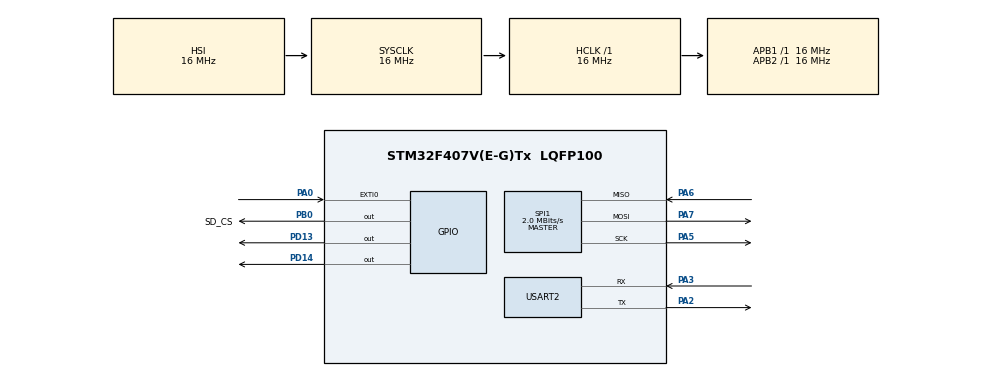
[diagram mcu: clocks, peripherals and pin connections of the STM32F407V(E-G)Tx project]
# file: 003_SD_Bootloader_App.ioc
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FATFS._MAX_SS=4096
FATFS._USE_LFN=1
Mcu.Family=STM32F4
Mcu.Name=STM32F407V(E-G)Tx
Mcu.Package=LQFP100
NVIC.EXTI0_IRQn=true\:0\:0\:false\:false\:true\:true\:true\:true
NVIC.PriorityGroup=NVIC_PRIORITYGROUP_4
PA0-WKUP.Signal=GPXTI0
PA13.Mode=Serial_Wire
PA13.Signal=SYS_JTMS-SWDIO
PA14.Mode=Serial_Wire
PA14.Signal=SYS_JTCK-SWCLK
PA2.Mode=Asynchronous
PA2.Signal=USART2_TX
PA3.Mode=Asynchronous
PA3.Signal=USART2_RX
PA5.Mode=Full_Duplex_Master
PA5.Signal=SPI1_SCK
PA6.Mode=Full_Duplex_Master
PA6.Signal=SPI1_MISO
PA7.Mode=Full_Duplex_Master
PA7.Signal=SPI1_MOSI
PB0.GPIO_Label=SD_CS
PB0.Signal=GPIO_Output
PD13.Signal=GPIO_Output
PD14.Signal=GPIO_Output
PH0-OSC_IN.Mode=HSE-External-Oscillator
PH0-OSC_IN.Signal=RCC_OSC_IN
PH1-OSC_OUT.Mode=HSE-External-Oscillator
PH1-OSC_OUT.Signal=RCC_OSC_OUT
ProjectManager.HeapSize=0x200
ProjectManager.StackSize=0x400
ProjectManager.TargetToolchain=STM32CubeIDE
RCC.AHBFreq_Value=16000000
RCC.APB1Freq_Value=16000000
RCC.APB2Freq_Value=16000000
RCC.CortexFreq_Value=16000000
RCC.HSE_VALUE=25000000
RCC.HSI_VALUE=16000000
RCC.LSE_VALUE=32768
RCC.SYSCLKFreq_VALUE=16000000
RCC.VCOOutputFreq_Value=192000000
SPI1.BaudRatePrescaler=SPI_BAUDRATEPRESCALER_8
SPI1.CalculateBaudRate=2.0 MBits/s
SPI1.Direction=SPI_DIRECTION_2LINES
SPI1.Mode=SPI_MODE_MASTER
SPI1.VirtualType=VM_MASTER
USART2.VirtualMode=VM_ASYNC
VP_FATFS_VS_Generic.Mode=User_defined
board=custom

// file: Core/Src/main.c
/* USER CODE BEGIN Header */
/**
  ******************************************************************************
  * @file           : main.c
  * @brief          : Main program body
  ******************************************************************************
  * @attention
  *
  * Copyright (c) 2024 STMicroelectronics.
  * All rights reserved.
  *
  * This software is licensed under terms that can be found in the LICENSE file
  * in the root directory of this software component.
  * If no LICENSE file comes with this software, it is provided AS-IS.
  *
  ******************************************************************************
  */
/* USER CODE END Header */
#include "main.h"
#include "fatfs.h"

/* USER CODE BEGIN Includes */
#include"fatfs_sd.h"
#include "flash.h"
#include "stdarg.h"
#include "stdio.h"
#include "string.h"
#include "crc.h"
/* USER CODE END Includes */

/* USER CODE BEGIN PTD */
 uint32_t appAddress = 0x08008000;
 uint32_t endAddress = 0x080FFFFF;

void bootloader_jump_to_user_application(void);
void printMessage(char *format, ...);
void JumpToApplication(void);

uint8_t buffer[12000];
uint8_t buffer2[12000];

FATFS fs;  // file system
FIL file; // File
FILINFO fno;
FRESULT fresult;  // result
UINT br, bw;

/* USER CODE END PTD */

SPI_HandleTypeDef hspi1;

UART_HandleTypeDef huart2;

void SystemClock_Config(void);
static void MX_GPIO_Init(void);
static void MX_SPI1_Init(void);
static void MX_USART2_UART_Init(void);

int main(void)
{

  /* MCU Configuration--------------------------------------------------------*/

  /* Reset of all peripherals, Initializes the Flash interface and the Systick. */
  HAL_Init();

  /* Configure the system clock */
  SystemClock_Config();

  /* Initialize all configured peripherals */
  MX_GPIO_Init();
  MX_SPI1_Init();
  MX_FATFS_Init();
  MX_USART2_UART_Init();
  /* USER CODE BEGIN 2 */

	fresult = f_mount(&fs, "/", 1);
	if (fresult != FR_OK) {
		printMessage("ERROR!!! in mounting SD CARD...\n");
		return 0;
	} else {

		printMessage("SD CARD mounted successfully...\n");
	}

	fresult = f_open(&file, "003_Bootloader_User_App.bin", FA_READ);

	if (fresult == FR_OK) {
		printMessage("003_Bootloader_User_App is open and the data is shown below\n");
		f_read(&file, buffer2, f_size(&file), &br);
		printMessage(buffer2);
		printMessage("\n\n");
		f_close(&file);
	} else {
		printMessage("ERROR!!! in opening 003_Bootloader_User_App...\n");
	}

	Flash_Write_Data(appAddress, (uint32_t*) buffer2, 12000, 1);
	JumpToApplication();

  /* USER CODE END 2 */

  /* Infinite loop */
  while (1)
  {

  }
}

void SystemClock_Config(void)
{
  RCC_OscInitTypeDef RCC_OscInitStruct = {0};
  RCC_ClkInitTypeDef RCC_ClkInitStruct = {0};

  /** Configure the main internal regulator output voltage
  */
  __HAL_RCC_PWR_CLK_ENABLE();
  __HAL_PWR_VOLTAGESCALING_CONFIG(PWR_REGULATOR_VOLTAGE_SCALE1);

  /** Initializes the RCC Oscillators according to the specified parameters
  * in the RCC_OscInitTypeDef structure.
  */
  RCC_OscInitStruct.OscillatorType = RCC_OSCILLATORTYPE_HSI;
  RCC_OscInitStruct.HSIState = RCC_HSI_ON;
  RCC_OscInitStruct.HSICalibrationValue = RCC_HSICALIBRATION_DEFAULT;
  RCC_OscInitStruct.PLL.PLLState = RCC_PLL_NONE;
  if (HAL_RCC_OscConfig(&RCC_OscInitStruct) != HAL_OK)
  {
    Error_Handler();
  }

  /** Initializes the CPU, AHB and APB buses clocks
  */
  RCC_ClkInitStruct.ClockType = RCC_CLOCKTYPE_HCLK|RCC_CLOCKTYPE_SYSCLK
                              |RCC_CLOCKTYPE_PCLK1|RCC_CLOCKTYPE_PCLK2;
  RCC_ClkInitStruct.SYSCLKSource = RCC_SYSCLKSOURCE_HSI;
  RCC_ClkInitStruct.AHBCLKDivider = RCC_SYSCLK_DIV1;
  RCC_ClkInitStruct.APB1CLKDivider = RCC_HCLK_DIV1;
  RCC_ClkInitStruct.APB2CLKDivider = RCC_HCLK_DIV1;

  if (HAL_RCC_ClockConfig(&RCC_ClkInitStruct, FLASH_LATENCY_0) != HAL_OK)
  {
    Error_Handler();
  }
}

static void MX_SPI1_Init(void)
{

  /* SPI1 parameter configuration*/
  hspi1.Instance = SPI1;
  hspi1.Init.Mode = SPI_MODE_MASTER;
  hspi1.Init.Direction = SPI_DIRECTION_2LINES;
  hspi1.Init.DataSize = SPI_DATASIZE_8BIT;
  hspi1.Init.CLKPolarity = SPI_POLARITY_LOW;
  hspi1.Init.CLKPhase = SPI_PHASE_1EDGE;
  hspi1.Init.NSS = SPI_NSS_SOFT;
  hspi1.Init.BaudRatePrescaler = SPI_BAUDRATEPRESCALER_8;
  hspi1.Init.FirstBit = SPI_FIRSTBIT_MSB;
  hspi1.Init.TIMode = SPI_TIMODE_DISABLE;
  hspi1.Init.CRCCalculation = SPI_CRCCALCULATION_DISABLE;
  hspi1.Init.CRCPolynomial = 10;
  if (HAL_SPI_Init(&hspi1) != HAL_OK)
  {
    Error_Handler();
  }

}

static void MX_USART2_UART_Init(void)
{

  huart2.Instance = USART2;
  huart2.Init.BaudRate = 115200;
  huart2.Init.WordLength = UART_WORDLENGTH_8B;
  huart2.Init.StopBits = UART_STOPBITS_1;
  huart2.Init.Parity = UART_PARITY_NONE;
  huart2.Init.Mode = UART_MODE_TX_RX;
  huart2.Init.HwFlowCtl = UART_HWCONTROL_NONE;
  huart2.Init.OverSampling = UART_OVERSAMPLING_16;
  if (HAL_UART_Init(&huart2) != HAL_OK)
  {
    Error_Handler();
  }

}

static void MX_GPIO_Init(void)
{
  GPIO_InitTypeDef GPIO_InitStruct = {0};

  /* GPIO Ports Clock Enable */
  __HAL_RCC_GPIOH_CLK_ENABLE();
  __HAL_RCC_GPIOA_CLK_ENABLE();
  __HAL_RCC_GPIOB_CLK_ENABLE();
  __HAL_RCC_GPIOD_CLK_ENABLE();

  /*Configure GPIO pin Output Level */
  HAL_GPIO_WritePin(SD_CS_GPIO_Port, SD_CS_Pin, GPIO_PIN_RESET);

  /*Configure GPIO pin Output Level */
  HAL_GPIO_WritePin(GPIOD, GPIO_PIN_13|GPIO_PIN_14, GPIO_PIN_RESET);

  /*Configure GPIO pin : PA0 */
  GPIO_InitStruct.Pin = GPIO_PIN_0;
  GPIO_InitStruct.Mode = GPIO_MODE_IT_RISING;
  GPIO_InitStruct.Pull = GPIO_NOPULL;
  HAL_GPIO_Init(GPIOA, &GPIO_InitStruct);

  /*Configure GPIO pin : SD_CS_Pin */
  GPIO_InitStruct.Pin = SD_CS_Pin;
  GPIO_InitStruct.Mode = GPIO_MODE_OUTPUT_PP;
  GPIO_InitStruct.Pull = GPIO_NOPULL;
  GPIO_InitStruct.Speed = GPIO_SPEED_FREQ_LOW;
  HAL_GPIO_Init(SD_CS_GPIO_Port, &GPIO_InitStruct);

  /*Configure GPIO pins : PD13 PD14 */
  GPIO_InitStruct.Pin = GPIO_PIN_13|GPIO_PIN_14;
  GPIO_InitStruct.Mode = GPIO_MODE_OUTPUT_PP;
  GPIO_InitStruct.Pull = GPIO_NOPULL;
  GPIO_InitStruct.Speed = GPIO_SPEED_FREQ_LOW;
  HAL_GPIO_Init(GPIOD, &GPIO_InitStruct);

  /* EXTI interrupt init*/
  HAL_NVIC_SetPriority(EXTI0_IRQn, 0, 0);
  HAL_NVIC_EnableIRQ(EXTI0_IRQn);

}

/* USER CODE BEGIN 4 */

void printMessage(char *format, ...)
{
	char comingMessage[100];

	va_list vaList;
	va_start(vaList, format);
	vsprintf(comingMessage, format, vaList);
	HAL_UART_Transmit(&huart2, (uint8_t*)comingMessage, strlen(comingMessage), HAL_MAX_DELAY);
	va_end(vaList);
}

void JumpToApplication(void)
{
    // Ana uygulamanın MSP değerini al
//    uint32_t appAddress = 0x08008000;
    uint32_t appSP = *(__IO uint32_t*)appAddress;

    // MSP'yi ayarla
    __set_MSP(appSP);

    // Vektör Tablosu'nu ayarla
    SCB->VTOR = appAddress;

    // Reset Handler adresini al
    uint32_t appResetHandler = *(__IO uint32_t*)(appAddress + 0x04);

    // Uygulamayı çalıştır
    typedef void (*pFunction)(void);
    pFunction JumpToApp = (pFunction)appResetHandler;
    JumpToApp();
}

void bootloader_jump_to_user_application(void)
{
	// 1- Sifirlama isleyicisinin adresini tutan bir fonksiyon göstericisi
	void (*bootloader_application_reset_handler)(void);
	// 2- Kullanici uygulamasina atlama kodu çagrildi
	printMessage("BL DEBUG MSG: Called bootloader_jump_to_user_application() \n");
	// 3- MSP'nin degerini tut
	uint32_t mspValue = *(volatile uint32_t*) appAddress;
	printMessage("BL DEBUG MSG: MSP Value: %#x \n", mspValue);
	__set_MSP(mspValue);

	// 4- Sifirlama isleyicisinin degerini tut
	uint32_t resetValue = *(volatile uint32_t*) (appAddress + 4);
	printMessage("BL DEBUG MSG: Reset Value: %#x \n", resetValue);
	// 5- Sifirlama isleyicisi ile bir islev baslat
	bootloader_application_reset_handler = (void*) resetValue;
	// 6- Sifirlama isleyicisini çagir ve kullanici uygulamasina atla
	bootloader_application_reset_handler();
}

void HAL_GPIO_EXTI_Callback(uint16_t GPIO_Pin)
{
	if(GPIO_Pin==GPIO_PIN_0)
		NVIC_SystemReset();
}
/* USER CODE END 4 */

void Error_Handler(void)
{
  __disable_irq();
  while (1)
  {
  }
}
